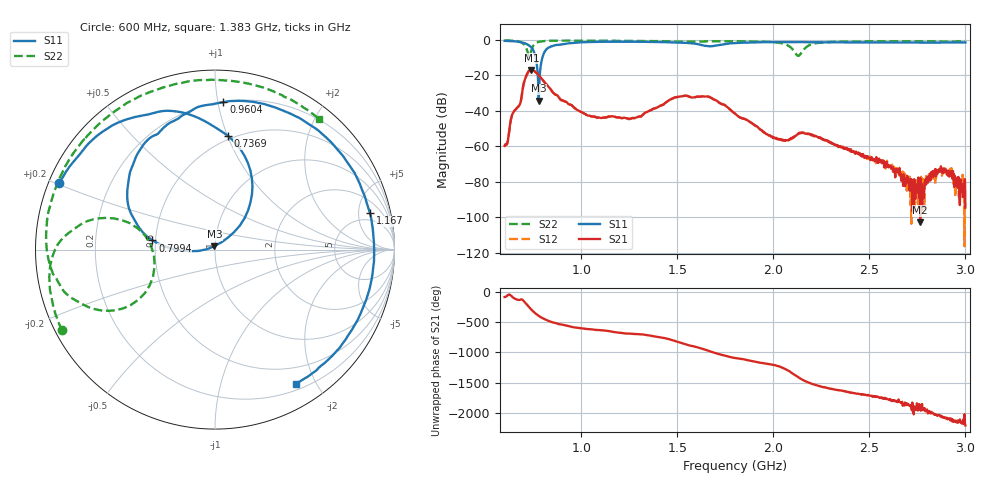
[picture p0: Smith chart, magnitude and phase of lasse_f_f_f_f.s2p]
#  HZ  S  RI  R  50.00
! Rohde & Schwarz ZVB8 2Ports - Version 2.81 - 1145.1010k08 SN: 100113
! Date: 2016-05-04 02:50:49
! Measurements: S11 S21 S12 S22
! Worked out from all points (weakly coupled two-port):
!   1000 points, 600 MHz to 3 GHz, reference 50 ohm
!   highest |S21| = -16.99 dB at 739.3 MHz (marker M1); lowest = -102.8 dB at 2.765 GHz (marker M2)
!   lowest |S11| = -34.2 dB at 777.8 MHz (marker M3), VSWR 1.04, Z = 49.6 + j1.89 ohm
!   |S11| at or under -10 dB: 761.7 MHz to 796.8 MHz (35.14 MHz wide, 4.51 % of centre)
!   |S22| runs from -9.3 to -0.3 dB; largest |S21 - S12| = 0.0023
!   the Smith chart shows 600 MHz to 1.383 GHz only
!   S11 on the Smith chart (normalised r, x): 600 MHz: 0.03, +0.20; 736.9 MHz: 0.47, +1.01; 799.4 MHz: 0.48, +0.06; 960.4 MHz: 0.20, +1.04; 1.167 GHz: 3.59, +6.80; 1.383 GHz: 0.28, -1.74
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6e8  -0.8669 0.3694  4.55e-05 -0.00103  6.81e-05 -0.000993  -0.8531 -0.4489
7.057057e8  -0.2398 0.7723  -0.0763 -0.0055  -0.076 -0.00552  -0.6797 0.168
7.369369e8  0.0736 0.6325  0.0404 0.1352  0.0411 0.1349  -0.3913 -0.243
7.393393e8  0.0986 0.6093  0.0587 0.1287  0.0589 0.1288  -0.4274 -0.28
7.777778e8  -0.00351 0.0191  0.0797 -0.0617  0.0804 -0.0612  -0.8533 -0.2172
7.993994e8  -0.3487 0.051  0.0145 -0.0713  0.015 -0.0713  -0.9169 -0.0947
9.603604e8  0.0472 0.8209  -0.00866 0.00922  -0.00865 0.0092  -0.7876 0.5394
1.001201e9  0.2782 0.8099  -0.004 0.00832  -0.00401 0.00828  -0.6912 0.6555
1.166967e9  0.8636 0.2022  0.00388 0.00579  0.00374 0.00581  -0.185 0.9283
1.383183e9  0.4534 -0.7471  0.0113 -0.0038  0.0112 -0.00376  0.577 0.7301
1.4e9  0.3801 -0.7823  0.0117 -0.00591  0.0117 -0.00582  0.6236 0.6853
1.654655e9  -0.4804 -0.4691  -0.0103 0.0233  -0.0105 0.0233  0.891 -0.1773
1.801201e9  -0.7774 -0.2521  0.00806 -0.00209  0.00806 -0.00201  0.6207 -0.6665
1.952553e9  -0.7915 0.3466  -0.000557 -0.00242  -0.000475 -0.00233  0.086 -0.8868
2.067868e9  -0.513 0.7009  -0.00133 0.000682  -0.00137 0.000668  -0.3636 -0.6369
2.125526e9  -0.2989 0.8208  0.00168 0.00138  0.00173 0.00136  -0.1449 -0.3307
2.2e9  0.000367 0.8559  0.000401 -0.00209  0.00035 -0.00206  -0.1353 -0.7469
2.421021e9  0.7601 0.3873  -0.000396 0.000591  -0.0004 0.000564  -0.7863 -0.4529
2.601201e9  0.761 -0.3728  0.000241 9.31e-05  0.000284 7.87e-05  -0.9127 -0.0195
2.764565e9  0.2631 -0.7996  -4.78e-06 -5.48e-06  -8.88e-05 -2.87e-05  -0.8358 0.3565
2.875075e9  -0.1433 -0.83  -7.07e-05 0.000183  -5e-05 0.000193  -0.7081 0.5666
3e9  -0.5551 -0.6381  1.28e-05 -1.43e-05  8.87e-05 2.96e-05  -0.4931 0.7499
